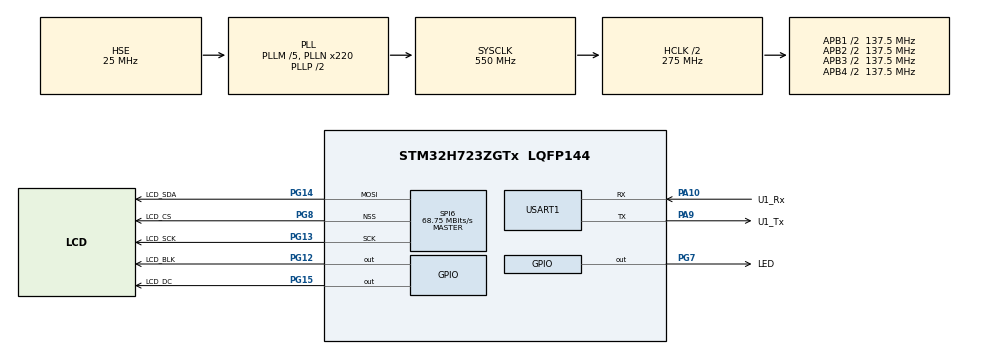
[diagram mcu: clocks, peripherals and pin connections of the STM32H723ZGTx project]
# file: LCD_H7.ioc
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CORTEX_M7.BaseAddress_Spec=0x24000000
CORTEX_M7.CPU_DCache=Enabled
CORTEX_M7.CPU_ICache=Enabled
CORTEX_M7.DisableExec_Spec=MPU_INSTRUCTION_ACCESS_ENABLE
CORTEX_M7.IsBufferable_Spec=MPU_ACCESS_BUFFERABLE
CORTEX_M7.IsCacheable_Spec=MPU_ACCESS_CACHEABLE
CORTEX_M7.IsShareable_Spec=MPU_ACCESS_NOT_SHAREABLE
CORTEX_M7.Size_Spec=MPU_REGION_SIZE_512KB
CORTEX_M7.TypeExtField_Spec=MPU_TEX_LEVEL1
CORTEX_M7.default_mode_Activation=1
Mcu.Family=STM32H7
Mcu.Name=STM32H723ZGTx
Mcu.Package=LQFP144
NVIC.PriorityGroup=NVIC_PRIORITYGROUP_4
PA10.GPIO_Label=U1_Rx
PA10.GPIO_Speed=GPIO_SPEED_FREQ_VERY_HIGH
PA10.Mode=Asynchronous
PA10.Signal=USART1_RX
PA13(JTMS/SWDIO).Mode=Serial_Wire
PA13(JTMS/SWDIO).Signal=DEBUG_JTMS-SWDIO
PA14(JTCK/SWCLK).Mode=Serial_Wire
PA14(JTCK/SWCLK).Signal=DEBUG_JTCK-SWCLK
PA9.GPIO_Label=U1_Tx
PA9.GPIO_Speed=GPIO_SPEED_FREQ_VERY_HIGH
PA9.Mode=Asynchronous
PA9.Signal=USART1_TX
PC14-OSC32_IN.Mode=LSE-External-Oscillator
PC14-OSC32_IN.Signal=RCC_OSC32_IN
PC15-OSC32_OUT.Mode=LSE-External-Oscillator
PC15-OSC32_OUT.Signal=RCC_OSC32_OUT
PG12.GPIO_Label=LCD_BLK
PG12.Signal=GPIO_Output
PG13.GPIO_Label=LCD_SCK
PG13.GPIO_Speed=GPIO_SPEED_FREQ_VERY_HIGH
PG13.Mode=TX_Only_Simplex_Unidirect_Master
PG13.Signal=SPI6_SCK
PG14.GPIO_Label=LCD_SDA
PG14.GPIO_Speed=GPIO_SPEED_FREQ_VERY_HIGH
PG14.Mode=TX_Only_Simplex_Unidirect_Master
PG14.Signal=SPI6_MOSI
PG15.GPIO_Label=LCD_DC
PG15.Signal=GPIO_Output
PG7.GPIO_Label=LED
PG7.PinState=GPIO_PIN_SET
PG7.Signal=GPIO_Output
PG8.GPIO_Label=LCD_CS
PG8.GPIO_Speed=GPIO_SPEED_FREQ_VERY_HIGH
PG8.Mode=NSS_Signal_Hard_Output
PG8.Signal=SPI6_NSS
PH0-OSC_IN.Mode=HSE-External-Oscillator
PH0-OSC_IN.Signal=RCC_OSC_IN
PH1-OSC_OUT.Mode=HSE-External-Oscillator
PH1-OSC_OUT.Signal=RCC_OSC_OUT
ProjectManager.HeapSize=0x200
ProjectManager.StackSize=0x400
ProjectManager.TargetToolchain=CMake
RCC.ADCFreq_Value=50390625
RCC.APB1Freq_Value=137500000
RCC.APB2Freq_Value=137500000
RCC.APB3Freq_Value=137500000
RCC.APB4Freq_Value=137500000
RCC.CortexFreq_Value=550000000
RCC.D1PPRE=RCC_APB3_DIV2
RCC.D2PPRE1=RCC_APB1_DIV2
RCC.D2PPRE2=RCC_APB2_DIV2
RCC.D3PPRE=RCC_APB4_DIV2
RCC.DIVM1=5
RCC.DIVN1=220
RCC.HCLKFreq_Value=275000000
RCC.HPRE=RCC_HCLK_DIV2
RCC.PLLSourceVirtual=RCC_PLLSOURCE_HSE
RCC.SYSCLKFreq_VALUE=550000000
RCC.SYSCLKSource=RCC_SYSCLKSOURCE_PLLCLK
RCC.USBFreq_Value=550000000
SPI6.BaudRatePrescaler=SPI_BAUDRATEPRESCALER_2
SPI6.CalculateBaudRate=68.75 MBits/s
SPI6.DataSize=SPI_DATASIZE_8BIT
SPI6.Direction=SPI_DIRECTION_2LINES_TXONLY
SPI6.FifoThreshold=SPI_FIFO_THRESHOLD_02DATA
SPI6.Mode=SPI_MODE_MASTER
SPI6.NSSPMode=SPI_NSS_PULSE_DISABLE
SPI6.VirtualNSS=VM_NSSHARD
SPI6.VirtualType=VM_MASTER
USART1.VirtualMode-Asynchronous=VM_ASYNC
VP_MEMORYMAP_VS_MEMORYMAP.Mode=CurAppReg
board=custom

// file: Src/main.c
/* USER CODE BEGIN Header */
/**
 ******************************************************************************
 * @file           : main.c
 * @brief          : Main program body
 ******************************************************************************
 * @attention
 *
 * Copyright (c) 2025 STMicroelectronics.
 * All rights reserved.
 *
 * This software is licensed under terms that can be found in the LICENSE file
 * in the root directory of this software component.
 * If no LICENSE file comes with this software, it is provided AS-IS.
 *
 ******************************************************************************
 */
/* USER CODE END Header */
#include "main.h"
#include "spi.h"
#include "usart.h"
#include "gpio.h"

/* USER CODE BEGIN Includes */
#include <hw/LCD/st7789.h>
#include <lvgl.h>
// #include <mw/display/display.h>
#include <guider/generated/gui_guider.h>
#include <stdio.h>

#include "lv_port_disp.h"
/* USER CODE END Includes */

void SystemClock_Config(void);
static void MPU_Config(void);

/* USER CODE BEGIN 0 */

lv_ui guider_ui;

/* USER CODE END 0 */

int main(void)
{

  /* MPU Configuration--------------------------------------------------------*/
  MPU_Config();

  /* Enable the CPU Cache */

  /* Enable I-Cache---------------------------------------------------------*/
  SCB_EnableICache();

  /* Enable D-Cache---------------------------------------------------------*/
  SCB_EnableDCache();

  /* MCU Configuration--------------------------------------------------------*/

  /* Reset of all peripherals, Initializes the Flash interface and the Systick. */
  HAL_Init();

  /* Configure the system clock */
  SystemClock_Config();

  /* Initialize all configured peripherals */
  MX_GPIO_Init();
  MX_SPI6_Init();
  MX_USART1_UART_Init();
  /* USER CODE BEGIN 2 */
    SPI_LCD_Init();
    lv_init();
    lv_port_disp_init();
    setup_ui(&guider_ui);
  /* USER CODE END 2 */

  /* Infinite loop */
    while (1) {

    /* USER CODE BEGIN 3 */
        printf("你好，世界\n");
        lv_task_handler();
        HAL_Delay(15);
    }
  /* USER CODE END 3 */
}

void SystemClock_Config(void)
{
  RCC_OscInitTypeDef RCC_OscInitStruct = {0};
  RCC_ClkInitTypeDef RCC_ClkInitStruct = {0};

  /** Supply configuration update enable
  */
  HAL_PWREx_ConfigSupply(PWR_LDO_SUPPLY);

  /** Configure the main internal regulator output voltage
  */
  __HAL_PWR_VOLTAGESCALING_CONFIG(PWR_REGULATOR_VOLTAGE_SCALE0);

  while(!__HAL_PWR_GET_FLAG(PWR_FLAG_VOSRDY)) {}

  /** Initializes the RCC Oscillators according to the specified parameters
  * in the RCC_OscInitTypeDef structure.
  */
  RCC_OscInitStruct.OscillatorType = RCC_OSCILLATORTYPE_HSE;
  RCC_OscInitStruct.HSEState = RCC_HSE_ON;
  RCC_OscInitStruct.PLL.PLLState = RCC_PLL_ON;
  RCC_OscInitStruct.PLL.PLLSource = RCC_PLLSOURCE_HSE;
  RCC_OscInitStruct.PLL.PLLM = 5;
  RCC_OscInitStruct.PLL.PLLN = 220;
  RCC_OscInitStruct.PLL.PLLP = 2;
  RCC_OscInitStruct.PLL.PLLQ = 2;
  RCC_OscInitStruct.PLL.PLLR = 2;
  RCC_OscInitStruct.PLL.PLLRGE = RCC_PLL1VCIRANGE_2;
  RCC_OscInitStruct.PLL.PLLVCOSEL = RCC_PLL1VCOWIDE;
  RCC_OscInitStruct.PLL.PLLFRACN = 0;
  if (HAL_RCC_OscConfig(&RCC_OscInitStruct) != HAL_OK)
  {
    Error_Handler();
  }

  /** Initializes the CPU, AHB and APB buses clocks
  */
  RCC_ClkInitStruct.ClockType = RCC_CLOCKTYPE_HCLK|RCC_CLOCKTYPE_SYSCLK
                              |RCC_CLOCKTYPE_PCLK1|RCC_CLOCKTYPE_PCLK2
                              |RCC_CLOCKTYPE_D3PCLK1|RCC_CLOCKTYPE_D1PCLK1;
  RCC_ClkInitStruct.SYSCLKSource = RCC_SYSCLKSOURCE_PLLCLK;
  RCC_ClkInitStruct.SYSCLKDivider = RCC_SYSCLK_DIV1;
  RCC_ClkInitStruct.AHBCLKDivider = RCC_HCLK_DIV2;
  RCC_ClkInitStruct.APB3CLKDivider = RCC_APB3_DIV2;
  RCC_ClkInitStruct.APB1CLKDivider = RCC_APB1_DIV2;
  RCC_ClkInitStruct.APB2CLKDivider = RCC_APB2_DIV2;
  RCC_ClkInitStruct.APB4CLKDivider = RCC_APB4_DIV2;

  if (HAL_RCC_ClockConfig(&RCC_ClkInitStruct, FLASH_LATENCY_3) != HAL_OK)
  {
    Error_Handler();
  }
}

 /* MPU Configuration */

void MPU_Config(void)
{
  MPU_Region_InitTypeDef MPU_InitStruct = {0};

  /* Disables the MPU */
  HAL_MPU_Disable();

  /** Initializes and configures the Region and the memory to be protected
  */
  MPU_InitStruct.Enable = MPU_REGION_ENABLE;
  MPU_InitStruct.Number = MPU_REGION_NUMBER0;
  MPU_InitStruct.BaseAddress = 0x24000000;
  MPU_InitStruct.Size = MPU_REGION_SIZE_512KB;
  MPU_InitStruct.SubRegionDisable = 0x87;
  MPU_InitStruct.TypeExtField = MPU_TEX_LEVEL1;
  MPU_InitStruct.AccessPermission = MPU_REGION_NO_ACCESS;
  MPU_InitStruct.DisableExec = MPU_INSTRUCTION_ACCESS_ENABLE;
  MPU_InitStruct.IsShareable = MPU_ACCESS_NOT_SHAREABLE;
  MPU_InitStruct.IsCacheable = MPU_ACCESS_CACHEABLE;
  MPU_InitStruct.IsBufferable = MPU_ACCESS_BUFFERABLE;

  HAL_MPU_ConfigRegion(&MPU_InitStruct);
  /* Enables the MPU */
  HAL_MPU_Enable(MPU_PRIVILEGED_DEFAULT);

}

void Error_Handler(void)
{
  /* USER CODE BEGIN Error_Handler_Debug */
    /* User can add his own implementation to report the HAL error return state
     */
    __disable_irq();
    while (1) {
    }
  /* USER CODE END Error_Handler_Debug */
}
#ifdef USE_FULL_ASSERT
/**
  * @brief  Reports the name of the source file and the source line number
  *         where the assert_param error has occurred.
  * @param  file: pointer to the source file name
  * @param  line: assert_param error line source number
  * @retval None
  */
void assert_failed(uint8_t *file, uint32_t line)
{
  /* USER CODE BEGIN 6 */
    /* User can add his own implementation to report the file name and line
       number, ex: printf("Wrong parameters value: file %s on line %d\r\n",
       file, line) */
  /* USER CODE END 6 */
}
#endif /* USE_FULL_ASSERT */
